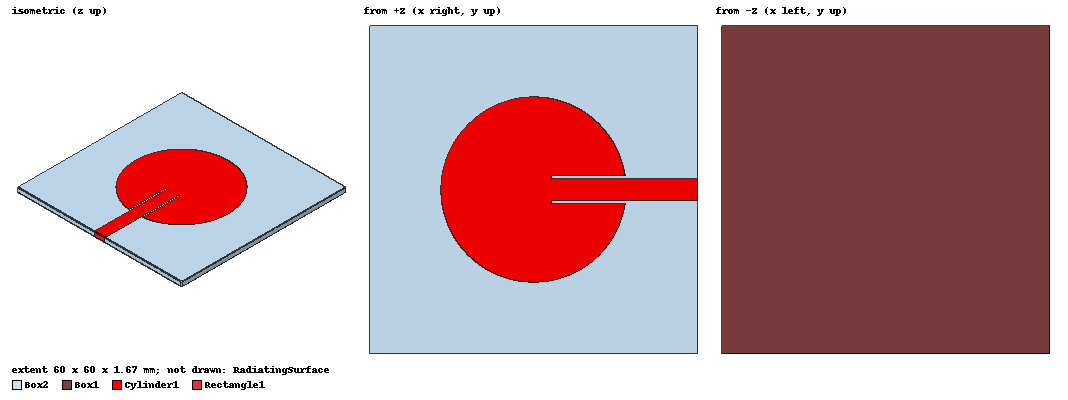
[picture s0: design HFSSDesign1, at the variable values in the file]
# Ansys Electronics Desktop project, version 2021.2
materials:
  vacuum: permittivity=1

design HFSSDesign1 (HFSS, DrivenModal, model units mm)
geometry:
  Box1 [vacuum] = box(corner=(30mm, 30mm, 0mm), size=(-60mm, -60mm, 0.035mm))
  Box2 [vacuum] = box(corner=(30mm, -30mm, 0.035mm), size=(-60mm, 60mm, 1.6mm))
  Cylinder1 [vacuum] = cylinder(axis=Z, base_centre=(0mm, 0mm, 1.635mm), radius=16.95mm, height=0.035mm)
  Box3 = box(corner=(16.95mm, -2.5mm, 1.635mm), size=(-13.7mm, 5mm, 0.035mm))
  Cylinder1.subtract(Box3)
  Box4 = box(corner=(3.25mm, -2mm, 1.635mm), size=((30-3.25) mm, 4mm, 0.035mm))
  Cylinder1.unite(Box4)
  Rectangle1 = rectangle(corner=(30mm, -2mm, 1.67mm), y_size=4mm, z_size=-1.67mm)
  RadiatingSurface [vacuum] = region(absolute_offset=41.666667mm on all sides)
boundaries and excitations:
  Open1: Radiation Objects=RadiatingSurface
  1: Lumped Port Objects=Rectangle1 Modes{Mode1{IntLine{middle of Rectangle1.edge(z opposite corner) -> middle of Rectangle1.edge(z at corner)} CharImp=Zpi RenormImp=50ohm}} Impedance=50ohm
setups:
  Setup1: HfssDriven Frequency=2.4GHz MaxDeltaS=0.01 MaximumPasses=10 MinimumPasses=1 MinimumConvergedPasses=1 PercentRefinement=30 BasisOrder=1 PortAccuracy=2
    sweep Sweep: 1.2GHz to 3.6GHz, 100 points; Type=Fast SaveFields
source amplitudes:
  1:1: 1W 0deg
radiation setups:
  3D: Infinite Sphere Theta=0deg..180deg step 2deg Phi=-180deg..180deg step 2deg
  Elevation: Infinite Sphere Theta=-180deg..180deg step 1deg Phi=0deg..90deg step 90deg
  Azimuth: Infinite Sphere Theta=90deg..90deg step 0deg Phi=-180deg..180deg step 1deg
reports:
  S Parameter Plot 1: dB(S(1,1)) vs Freq on Setup1 : Sweep
  rE Plot 1: rETotal vs Phi, Theta on Setup1 : LastAdaptive, 3D [Freq=2.4GHz]
